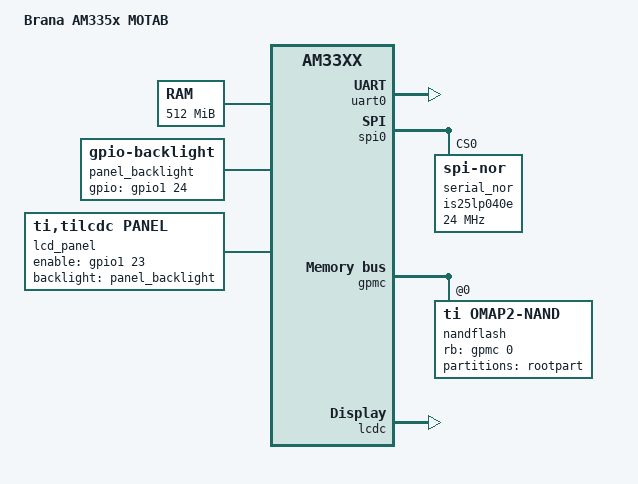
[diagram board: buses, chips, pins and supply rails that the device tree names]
/*
 * Copyright (C) 2020 Brana Electromech 
 */
/dts-v1/;

#include "am33xx.dtsi"
#include <dt-bindings/interrupt-controller/irq.h>

/ {
  model = "Brana AM335x MOTAB";
  compatible = "brana,am335x-motab", "ti,am33xx";

  aliases {
//    ethernet0 = &cpsw_port1;
//    ethernet1 = &cpsw_port2;
  };

  memory@80000000 {
    device_type = "memory";
    reg = <0x80000000 0x20000000>; /* 512 MB */
  };

  chosen {
    stdout-path = &uart0;
  };

  panel_backlight: panel-backlight {
    compatible = "gpio-backlight";
    gpios = <&gpio1 24 GPIO_ACTIVE_HIGH>;
  };

  lcd_panel: lcd-panel {
    compatible = "ti,tilcdc,panel";
    enable-gpios = <&gpio1 23 GPIO_ACTIVE_HIGH>;
    backlight = <&panel_backlight>;

    display_timings: display-timings {
      native-mode = <&timing0>;
      timing0: 800x480 {
        hactive         = <800>;
        vactive         = <480>;
        hback-porch     = <46>;
        hfront-porch    = <210>;
        hsync-len       = <10>;
        vback-porch     = <23>;
        vfront-porch    = <22>;
        vsync-len       = <10>;
        clock-frequency = <32000000>;
        hsync-active    = <1>;
        vsync-active    = <1>;
      };
    };

    panel_info: panel-info {
      ac-bias           = <255>;
      ac-bias-intrpt    = <0>;
      dma-burst-sz      = <16>;
      bpp               = <16>;
      fdd               = <0x80>;
      sync-edge         = <0>;
      sync-ctrl         = <1>;
      raster-order      = <0>;
      fifo-th           = <0>;
    };
  };
};

//*****************************************************************************
&uart0 {
  status = "okay";
};

//*****************************************************************************
&spi0 {
	status = "okay";

	serial_nor: is25lp040e@0 {
		compatible = "jedec,spi-nor";
		reg = <0x0>;  /* Chip select 0 */
    spi-max-frequency = <24000000>;
	};
};

//*****************************************************************************
&gpmc {
  ranges = <0 0 0x08000000 0x8000000>; /* CS0 for 128 MiB chip */
  status = "okay";

  nandflash: nand@0,0 {
    compatible = "ti,omap2-nand";
    reg = <0 0 4>; /* CS0, offset 0, IO size 4 */

    rb-gpios = <&gpmc 0 GPIO_ACTIVE_HIGH>; /* gpmc_wait0 */
    ti,nand-ecc-opt = "bch8";
    nand-bus-width = <8>;
    gpmc,device-nand = "true";
    gpmc,device-width = <1>;
    gpmc,sync-clk-ps = <0>;
    gpmc,cs-on-ns = <0>;
    gpmc,cs-rd-off-ns = <30>;
    gpmc,cs-wr-off-ns = <30>;
    gpmc,adv-on-ns = <0>;
    gpmc,adv-rd-off-ns = <30>;
    gpmc,adv-wr-off-ns = <30>;
    gpmc,we-on-ns = <0>;
    gpmc,we-off-ns = <20>;
    gpmc,oe-on-ns = <10>;
    gpmc,oe-off-ns = <30>;
    gpmc,access-ns = <30>;
    gpmc,rd-cycle-ns = <30>;
    gpmc,wr-cycle-ns = <30>;
    gpmc,bus-turnaround-ns = <0>;
    gpmc,cycle2cycle-delay-ns = <50>;
    gpmc,clk-activation-ns = <0>;
    gpmc,wait-monitoring-ns = <0>;
    gpmc,wr-access-ns = <30>;
    gpmc,wr-data-mux-bus-ns = <0>;

    #address-cells = <1>;
    #size-cells = <1>;

    /* MTD partition table */
    partition@0 {
      label = "rootpart";
      reg = <0x00000000 0x8000000>;
    };
  };
};


//*****************************************************************************
&lcdc {
  blue-and-red-wiring = "crossed";
  status = "okay";
};


